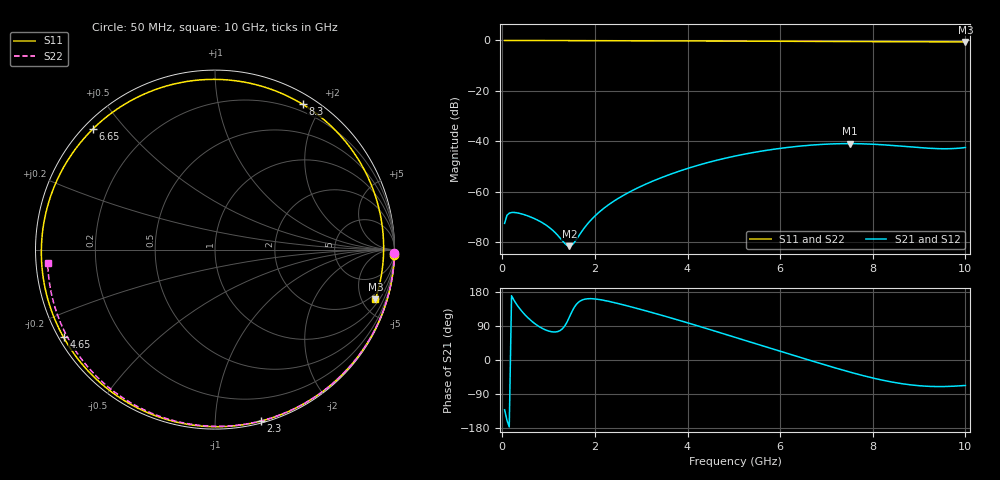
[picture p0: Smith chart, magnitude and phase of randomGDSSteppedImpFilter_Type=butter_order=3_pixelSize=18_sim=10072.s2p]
! freq	dB(S11)	phase(S11)	dB(S12)	phase(S12)
!  dB(S21)	phase(S21)	dB(S22)	phase(S22)
!S-par simulation data
#  GHz  S  DB  R 50
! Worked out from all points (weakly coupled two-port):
!   200 points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, 50 MHz to 10 GHz, reference 50 ohm
!   highest |S21| = -40.86 dB at 7.5 GHz (marker M1); lowest = -81.5 dB at 1.45 GHz (marker M2)
!   lowest |S11| = -0.6 dB at 10 GHz (marker M3), VSWR 30.23, Z = 70.5 - j315 ohm
!   |S11| at or under -10 dB: nowhere
!   |S22| runs from -0.6 to 0.0 dB; largest |S21 - S12| = 0
!   S11 on the Smith chart (normalised r, x): 50 MHz: 0, -69; 2.3 GHz: 0.01, -1.30; 4.65 GHz: 0.01, -0.27; 6.65 GHz: 0.03, +0.41; 8.3 GHz: 0.12, +1.76; 10 GHz: 1.41, -6.30
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0.05  -0.00 -1.7  -72.45 -131.4  -72.45 -131.4  -0.00 -1.0
0.1  -0.00 -3.3  -69.30 -158.7  -69.30 -158.7  -0.00 -2.0
0.15  -0.00 -5.0  -68.42 -176.8  -68.42 -176.8  -0.00 -3.0
0.45  -0.01 -15.0  -68.87 124.7  -68.87 124.7  -0.01 -9.0
0.9  -0.03 -29.9  -72.60 81.3  -72.60 81.3  -0.02 -17.8
1.3  -0.05 -42.9  -79.39 82.5  -79.39 82.5  -0.03 -25.7
1.45  -0.06 -47.8  -81.49 113.4  -81.49 113.4  -0.04 -28.6
1.55  -0.06 -51.0  -80.15 138.3  -80.15 138.3  -0.04 -30.5
1.75  -0.07 -57.5  -74.79 159.5  -74.79 159.5  -0.04 -34.3
2.3  -0.10 -75.0  -65.01 154.8  -65.01 154.8  -0.06 -44.8
3.4  -0.14 -109.7  -54.59 119.5  -54.59 119.5  -0.09 -65.0
4.65  -0.22 -150.0  -47.36 74.1  -47.36 74.1  -0.13 -86.9
5.05  -0.25 -163.5  -45.70 59.0  -45.70 59.0  -0.14 -93.7
5.85  -0.32 167.5  -43.13 28.8  -43.13 28.8  -0.18 -107.0
6.65  -0.39 135.4  -41.48 -1.1  -41.48 -1.1  -0.23 -119.9
6.7  -0.39 133.3  -41.41 -3.0  -41.41 -3.0  -0.24 -120.8
7.5  -0.45 97.3  -40.86 -31.7  -40.86 -31.7  -0.30 -133.6
7.9  -0.47 78.2  -41.02 -44.5  -41.02 -44.5  -0.33 -140.0
8.3  -0.49 58.9  -41.43 -55.5  -41.43 -55.5  -0.37 -146.5
8.35  -0.49 56.5  -41.49 -56.7  -41.49 -56.7  -0.38 -147.3
9.15  -0.52 18.8  -42.62 -69.2  -42.62 -69.2  -0.47 -160.6
10  -0.57 -17.2  -42.39 -67.2  -42.39 -67.2  -0.58 -175.3
